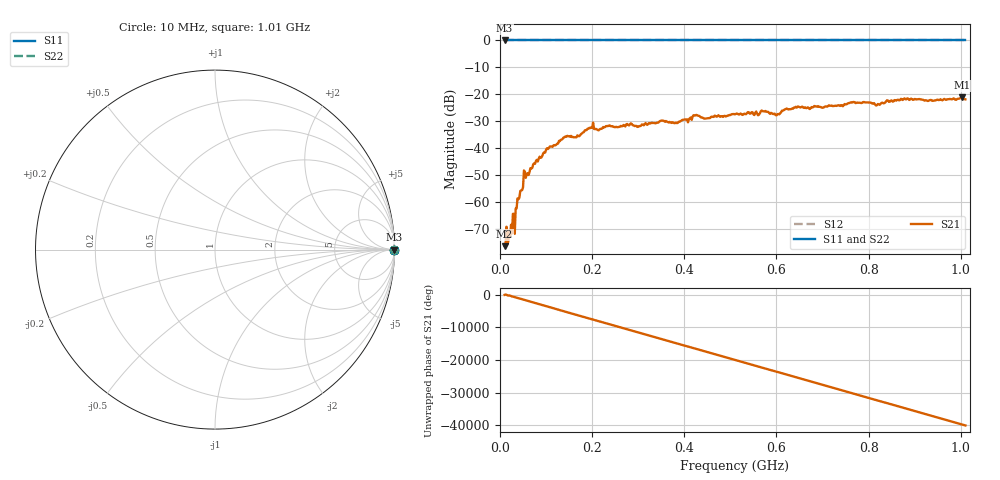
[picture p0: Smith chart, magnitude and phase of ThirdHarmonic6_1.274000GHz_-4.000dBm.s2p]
! 8/16/2025 1:48:08 PM
! C:\ANRITSUVNA\TEMP\TEMP.S2P
! CHANNEL.1
! TR.MEASUREMENT
! RAW.DATA
! RF.CORRECTION.OFF
! AVERAGING.OFF
! IF.BANDWIDTH: 5KHZ
! SWEEPTYPE:  FREQ.SWEEP(Linear)
! Reference Plane Port Info
! PORT:  PORT1  PORT2
! DISTANCE:  0  m  0  m
! TIME:  0  s  0  s
! PHASE.OFFSET:  0  deg.  0  deg.
! LOSS:  0  dB  0  dB
! REF.LOSS:  0  dB  0  dB
! REF.FREQ:  0  Hz  0  Hz
! Power Info
! POWER:  -20  dBm  -20  dBm
! EFF.POWER:  -20  dBm  -20  dBm
! SOURCE.ATTEN:  0  dB  0  dB
! TEST.ATTEN:  0  dB  0  dB
# GHZ S RI R 50.0
! FREQ.GHZ  S11RE  S11IM  S21RE  S21IM  S12RE  S12IM  S22RE  S22IM
!; PortSelection: Port_12
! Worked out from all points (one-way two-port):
!   501 points, 10 MHz to 1.01 GHz, reference 50 ohm
!   highest |S21| = -21.10 dB at 1.002 GHz (marker M1); lowest = -76.2 dB at 10 MHz (marker M2)
!   lowest |S11| = 0.0 dB at 10 MHz (marker M3)
!   |S11| at or under -10 dB: nowhere
!   |S22| runs from 0.0 to 0.0 dB; largest |S21 - S12| = 1.1
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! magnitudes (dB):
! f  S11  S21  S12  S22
! 10 MHz  0.0  -76.2  0.0  0.0
! 22 MHz  0.0  -72.5  0.0  0.0
! 56 MHz  0.0  -50.9  0.0  0.0
! 60 MHz  0.0  -49.1  0.0  0.0
! 104 MHz  0.0  -40.2  0.0  0.0
! 142 MHz  0.0  -35.6  0.0  0.0
! 178 MHz  0.0  -34.4  0.0  0.0
! 198 MHz  0.0  -32.2  0.0  0.0
! 214 MHz  0.0  -33.3  0.0  0.0
! 344 MHz  0.0  -30.3  0.0  0.0
! 382 MHz  0.0  -30.4  0.0  0.0
! 424 MHz  0.0  -27.7  0.0  0.0
! 446 MHz  0.0  -28.9  0.0  0.0
! 510 MHz  0.0  -27.4  0.0  0.0
! 572 MHz  0.0  -26.3  0.0  0.0
! 602 MHz  0.0  -27.3  0.0  0.0
! 620 MHz  0.0  -25.4  0.0  0.0
! 678 MHz  0.0  -24.8  0.0  0.0
! 820 MHz  0.0  -23.5  0.0  0.0
! 844 MHz  0.0  -22.7  0.0  0.0
! 1.002 GHz  0.0  -21.1  0.0  0.0
! 1.01 GHz  0.0  -21.8  0.0  0.0
